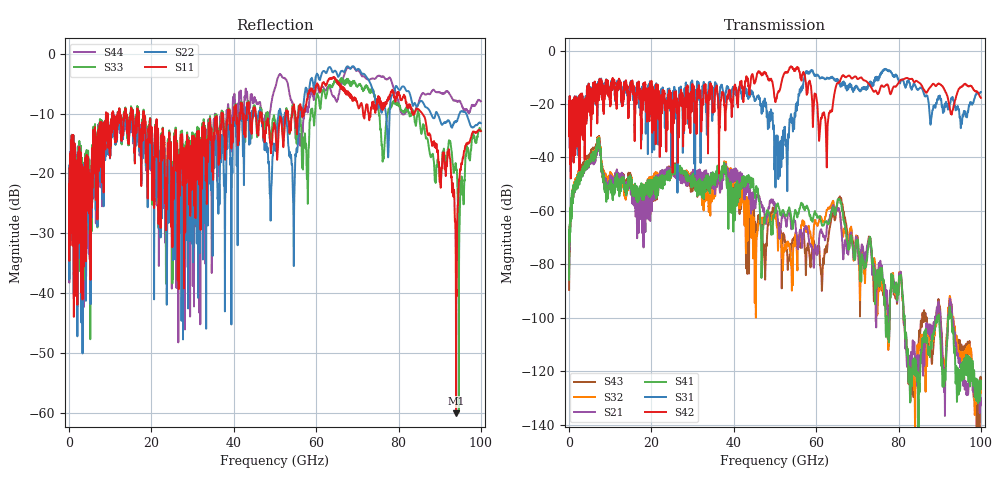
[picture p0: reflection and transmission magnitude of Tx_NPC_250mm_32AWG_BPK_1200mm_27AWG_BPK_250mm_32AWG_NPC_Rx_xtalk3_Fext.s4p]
! Info: Touchstone file created by Circ.  Input file=Tx_NPC_250mm_32AWG_BPK_1200mm_27AWG_BPK_250mm_32AWG_NPC_Rx.circ
# Hz S RI R 50
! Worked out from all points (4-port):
!   10000 points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, 10 MHz to 100 GHz, reference 50 ohm
!   strongest paths, dB at 10 MHz, 25.01 GHz, 50.01 GHz, 75.01 GHz, 100 GHz:
!     S42: -26.4, -19.9, -18.4, -16.3, -17.6
!     S31: -26.4, -24.9, -36.4, -10.4, -15.5
!     S41: -85.7, -44.1, -59.8, -86.8, -126.6
!     S21: -82.2, -44.2, -58.9, -83.6, -132.6
!     S32: -81.1, -45.3, -62.9, -93.0, -128.3
!     S43: -89.6, -43.3, -61.0, -89.6, -127.8
!   lowest |S11| = -60.1 dB at 93.97 GHz (marker M1), VSWR 1.00, Z = 49.9 + j0.00946 ohm
!   |S11| at or under -10 dB: start of sweep to 8.949 GHz; 18.15 GHz to 37.05 GHz (18.89 GHz wide, 68.5 % of centre); 85.77 GHz to end of sweep (the widest 3 of 49)
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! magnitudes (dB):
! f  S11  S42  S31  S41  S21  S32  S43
! 10 MHz  -22.2  -26.4  -26.4  -85.7  -82.2  -81.1  -89.6
! 6.97 GHz  -16.9  -14.5  -13.4  -33.7  -34.8  -33.5  -32.9
! 42.88 GHz  -11.8  -11.4  -15.5  -50.2  -53.7  -61.7  -65.8
! 51.17 GHz  -11.0  -14.5  -42.6  -60.4  -69.2  -69.7  -66.0
! 64.22 GHz  -4.1  -18.2  -10.2  -58.8  -58.0  -56.6  -60.2
! 93.97 GHz  -60.1  -17.1  -21.6  -119.5  -109.4  -107.2  -107.9
! 100 GHz  -12.9  -17.6  -15.5  -126.6  -132.6  -128.3  -127.8
